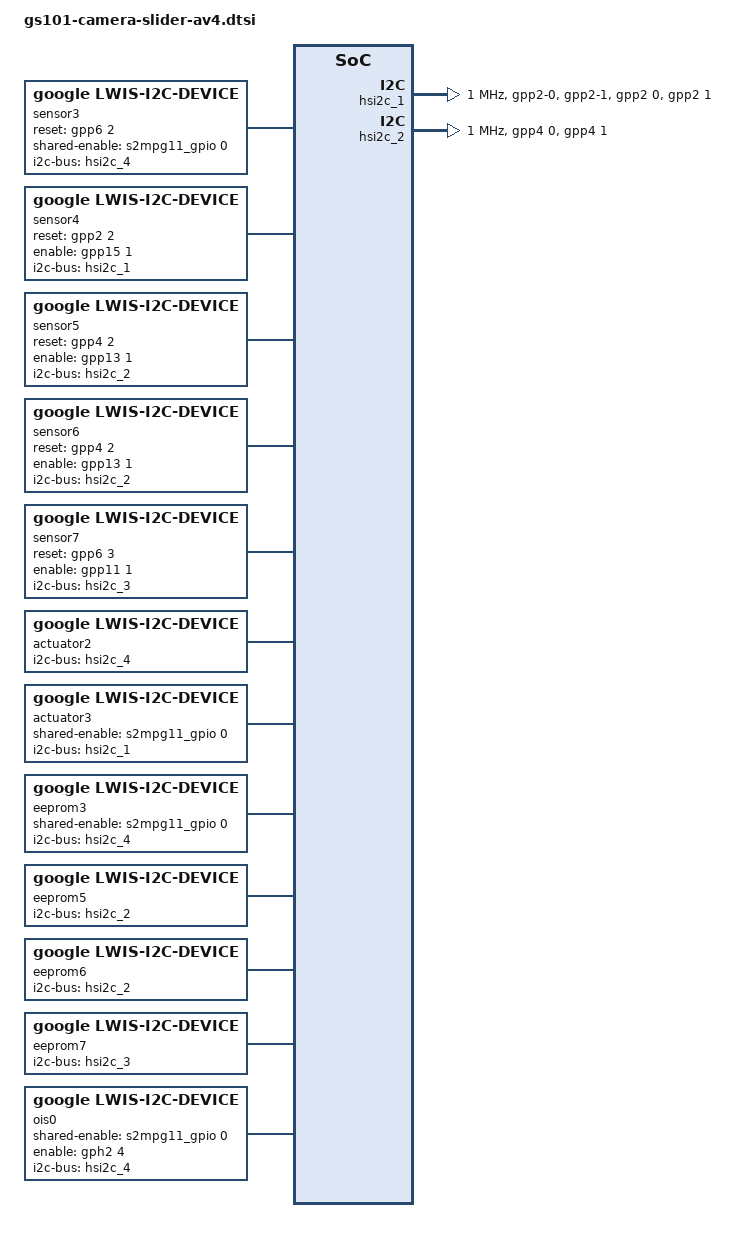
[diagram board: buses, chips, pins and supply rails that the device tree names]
// SPDX-License-Identifier: GPL-2.0-only
/*
 * gs101 camera lwis device tree source for av4
 *
 * Copyright 2020 Google LLC.
 *
 */

#include <dt-bindings/clock/gs101.h>
#include <dt-bindings/gpio/gpio.h>
#include <dt-bindings/pinctrl/samsung.h>

&pinctrl_4 {
	hsi2c1_bus: hsi2c1-bus {
		samsung,pin-pud = <EXYNOS_PIN_PULL_UP>;
	};

	hsi2c1_bus_in: hsi2c1-bus-in {
		samsung,pins = "gpp2-0", "gpp2-1";
		samsung,pin-function = <EXYNOS_PIN_FUNC_INPUT>;
		samsung,pin-pud = <EXYNOS_PIN_PULL_NONE>;
		samsung,pin-drv = <GS101_PIN_DRV_2_5_MA>;
	};
};

&hsi2c_1 {
	#address-cells = <1>;
	#size-cells = <0>;
	gpios = <&gpp2 0 0 &gpp2 1 0>;
	status = "okay";
	clock-frequency = <1000000>;
	samsung,reset-before-trans;

	pinctrl-names = "default","on_i2c","off_i2c";
	pinctrl-0 = <&hsi2c1_bus_in>;
	pinctrl-1 = <&hsi2c1_bus>;
	pinctrl-2 = <&hsi2c1_bus_in>;
};

&hsi2c_2 {
	#address-cells = <1>;
	#size-cells = <0>;
	gpios = <&gpp4 0 0 &gpp4 1 0>;
	status = "okay";
	clock-frequency = <1000000>;
	samsung,reset-before-trans;

	pinctrl-names = "default","on_i2c","off_i2c";
	pinctrl-0 = <&hsi2c2_bus_in>;
	pinctrl-1 = <&hsi2c2_bus>;
	pinctrl-2 = <&hsi2c2_bus_in>;
};

/ {
	fragment@lwiscamera {
		target-path = "/";
		__overlay__ {
			/* REAR CAMERA GN1 */
			sensor3: sensor@3 {
				compatible = "google,lwis-i2c-device";

				/* Device node name */
				node-name = "sensor-gn1";

				/* I2C */
				i2c-bus = <&hsi2c_4>;
				i2c-addr = <0x56>;

				/* Registers */
				reg-addr-bitwidth = <16>;
				reg-value-bitwidth = <16>;

				/* GPIOs */
				/* RCAM_RST_L GPP6[2] */
				reset-gpios = <&gpp6 2 GPIO_ACTIVE_HIGH>;
				/* RCAM_EN2 GRA_GPIO6 */
				shared-enable-gpios =
					<&s2mpg11_gpio 0 GPIO_ACTIVE_HIGH>;

				/* Power supplies */
				regulators =
					<&slg51000_ldo1 &slg51000_ldo3
					 &slg51000_ldo4 &slg51000_ldo7>;
				regulator-voltages =
					<2850000 3200000
					 2900000 1850000>;

				clocks =
					<&clock CIS_CLK0>,
					<&clock GATE_DFTMUX_CMU_CIS_CLK0>;
				clock-names =
					"CIS_CLK0",
					"GATE_DFTMUX_CMU_CIS_CLK0";
				clock-rates =
					<26000000>,
					<0>;

				/* MCLK Control */
				pinctrl-names = "mclk_on", "mclk_off";
				pinctrl-0 = <&sensor_mclk1_fn>;
				pinctrl-1 = <&sensor_mclk1_out>;

				/* Power up sequence */
				power-up-seqs =
					"ldo7",
					"shared-enable",
					"ldo1",
					"ldo4",
					"ldo3",
					"reset",
					"mclk_on";
				power-up-seq-types =
					"regulator",
					"gpio",
					"regulator",
					"regulator",
					"regulator",
					"gpio",
					"pinctrl";
				power-up-seq-delays-us =
					<1000
					 1000
					 0
					 1000
					 0
					 1000
					 9000>;

				/* Power down sequence */
				power-down-seqs =
					"mclk_off",
					"reset",
					"ldo3",
					"ldo4",
					"ldo1",
					"shared-enable",
					"ldo7";
				power-down-seq-types =
					"pinctrl",
					"gpio",
					"regulator",
					"regulator",
					"regulator",
					"gpio",
					"regulator";
				power-down-seq-delays-us =
					<1000
					 0
					 1000
					 0
					 0
					 1000
					 0>;
			};

			/* REAR TELE CAMERA IMX586 */
			sensor4: sensor@4 {
				compatible = "google,lwis-i2c-device";

				/* Device node name */
				node-name = "sensor-imx586";

				/* I2C */
				i2c-bus = <&hsi2c_1>;
				i2c-addr = <0x1A>;

				/* Registers */
				reg-addr-bitwidth = <16>;
				reg-value-bitwidth = <8>;

				/* GPIOs */
				reset-gpios = <&gpp2 2 GPIO_ACTIVE_HIGH>;
				/* RTCAM_EN GPP15[1] */
				enable-gpios = <&gpp15 1 GPIO_ACTIVE_HIGH>;

				/* Power supplies */
				regulators =
					<&slg51000_ldo6 &slg51000_ldo7>;
				regulator-voltages =
					<1150000 1850000>;

				clocks =
					<&clock CIS_CLK4>,
					<&clock GATE_DFTMUX_CMU_CIS_CLK4>;
				clock-names =
					"CIS_CLK4",
					"GATE_DFTMUX_CMU_CIS_CLK4";
				clock-rates =
					<26000000>,
					<0>;

				/* MCLK Control */
				pinctrl-names = "mclk_on", "mclk_off";
				pinctrl-0 = <&sensor_mclk5_fn>;
				pinctrl-1 = <&sensor_mclk5_out>;

				/* Power up sequence */
				power-up-seqs =
					"ldo6",
					"enable",
					"ldo7",
					"mclk_on",
					"reset";
				power-up-seq-types =
					"regulator",
					"gpio",
					"regulator",
					"pinctrl",
					"gpio";
				power-up-seq-delays-us =
					<0
					 0
					 1000
					 1000
					 10000>;

				/* Power down sequence */
				power-down-seqs =
					"reset",
					"mclk_off",
					"ldo7",
					"enable",
					"ldo6";
				power-down-seq-types =
					"gpio",
					"pinctrl",
					"regulator",
					"gpio",
					"regulator";
				power-down-seq-delays-us =
					<0
					 1000
					 0
					 0
					 0>;
			};

			/* FRONT CAMERA IMX355 */
			sensor5: sensor@5 {
				compatible = "google,lwis-i2c-device";

				/* Device node name */
				node-name = "sensor-imx355";

				/* I2C */
				i2c-bus = <&hsi2c_2>;
				i2c-addr = <0x1A>;

				/* Registers */
				reg-addr-bitwidth = <16>;
				reg-value-bitwidth = <8>;

				/* GPIOs */
				reset-gpios = <&gpp4 2 GPIO_ACTIVE_HIGH>;
				enable-gpios = <&gpp13 1 GPIO_ACTIVE_HIGH>;

				/* Power supplies */
				regulators =
					<&slg51000_ldo3 &slg51000_ldo6
					 &slg51000_ldo7>;
				regulator-voltages =
					<3200000 1150000
					 1850000>;

				clocks =
					<&clock CIS_CLK2>,
					<&clock GATE_DFTMUX_CMU_CIS_CLK2>;
				clock-names =
					"CIS_CLK2",
					"GATE_DFTMUX_CMU_CIS_CLK2";
				clock-rates =
					<24000000>,
					<0>;

				/* MCLK Control */
				pinctrl-names = "mclk_on", "mclk_off";
				pinctrl-0 = <&sensor_mclk3_fn>;
				pinctrl-1 = <&sensor_mclk3_out>;

				/* Power up sequence */
				power-up-seqs =
					"ldo3",
					"ldo6",
					"ldo7",
					"mclk_on",
					"reset";
				power-up-seq-types =
					"regulator",
					"regulator",
					"regulator",
					"pinctrl",
					"gpio";
				power-up-seq-delays-us =
					<0
					 0
					 1000
					 1000
					 11000>;

				/* Power down sequence */
				power-down-seqs =
					"reset",
					"mclk_off",
					"ldo7",
					"ldo6",
					"ldo3";
				power-down-seq-types =
					"gpio",
					"pinctrl",
					"regulator",
					"regulator",
					"regulator";
				power-down-seq-delays-us =
					<0
					 1000
					 0
					 0
					 0>;
			};

			/* FRONT CAMERA IMX663 */
			sensor6: sensor@6 {
				compatible = "google,lwis-i2c-device";

				/* Device node name */
				node-name = "sensor-imx663";

				/* I2C */
				i2c-bus = <&hsi2c_2>;
				i2c-addr = <0x1A>;

				/* Registers */
				reg-addr-bitwidth = <16>;
				reg-value-bitwidth = <8>;

				/* GPIOs */
				/* FCAM_RST_L GPP4[2] */
				reset-gpios = <&gpp4 2 GPIO_ACTIVE_HIGH>;
				/* FCAM_EN GPP13[1] */
				enable-gpios = <&gpp13 1 GPIO_ACTIVE_HIGH>;

				/* Power supplies */
				regulators =
					<&slg51000_ldo7>;
				regulator-voltages =
					<1850000>;

				clocks =
					<&clock CIS_CLK2>,
					<&clock GATE_DFTMUX_CMU_CIS_CLK2>;
				clock-names =
					"CIS_CLK2",
					"GATE_DFTMUX_CMU_CIS_CLK2";
				clock-rates =
					<24000000>,
					<0>;

				/* MCLK Control */
				pinctrl-names = "mclk_on", "mclk_off";
				pinctrl-0 = <&sensor_mclk3_fn>;
				pinctrl-1 = <&sensor_mclk3_out>;

				/* Power up sequence */
				power-up-seqs =
					"ldo7",
					"enable",
					"mclk_on",
					"reset";
				power-up-seq-types =
					"regulator",
					"gpio",
					"pinctrl",
					"gpio";
				power-up-seq-delays-us =
					<0
					 1000
					 1000
					 11000>;

				/* Power down sequence */
				power-down-seqs =
					"reset",
					"mclk_off",
					"enable",
					"ldo7";
				power-down-seq-types =
					"gpio",
					"pinctrl",
					"gpio",
					"regulator";
				power-down-seq-delays-us =
					<0
					 1000
					 0
					 0>;
			};

			/* REAR ULTRA WIDE CAMERA IMX386 */
			sensor7: sensor@7 {
				compatible = "google,lwis-i2c-device";

				/* Device node name */
				node-name = "sensor-imx386";

				/* I2C */
				i2c-bus = <&hsi2c_3>;
				i2c-addr = <0x1A>;

				/* Registers */
				reg-addr-bitwidth = <16>;
				reg-value-bitwidth = <8>;

				/* GPIOs */
				reset-gpios = <&gpp6 3 GPIO_ACTIVE_HIGH>;
				enable-gpios = <&gpp11 1 GPIO_ACTIVE_HIGH>;

				/* Power supplies */
				regulators =
					<&slg51000_ldo2 &slg51000_ldo5
					 &slg51000_ldo7>;
				regulator-voltages =
					<2850000 1150000
					 1850000>;

				clocks =
					<&clock CIS_CLK1>,
					<&clock GATE_DFTMUX_CMU_CIS_CLK1>;
				clock-names =
					"CIS_CLK1",
					"GATE_DFTMUX_CMU_CIS_CLK1";
				clock-rates =
					<26000000>,
					<0>;

				/* MCLK Control */
				pinctrl-names = "mclk_on", "mclk_off";
				pinctrl-0 = <&sensor_mclk2_fn>;
				pinctrl-1 = <&sensor_mclk2_out>;

				/* Power up sequence */
				power-up-seqs =
					"ldo2",
					"ldo5",
					"ldo7",
					"mclk_on",
					"reset";
				power-up-seq-types =
					"regulator",
					"regulator",
					"regulator",
					"pinctrl",
					"gpio";
				power-up-seq-delays-us =
					<0
					 0
					 1000
					 1000
					 10000>;

				/* Power down sequence */
				power-down-seqs =
					"reset",
					"mclk_off",
					"ldo7",
					"ldo5",
					"ldo2";
				power-down-seq-types =
					"gpio",
					"pinctrl",
					"regulator",
					"regulator",
					"regulator";
				power-down-seq-delays-us =
					<0
					 1000
					 0
					 0
					 0>;
			};

			/* Actuator ak7377 for gn1*/
			actuator2: actuator@2 {
				compatible = "google,lwis-i2c-device";

				/* Device node name */
				node-name = "act-ak7377";

				/* I2C */
				i2c-bus = <&hsi2c_4>;
				i2c-addr = <0xC>;

				/* Registers */
				reg-addr-bitwidth = <8>;
				reg-value-bitwidth = <8>;

				/* Power supplies */
				regulators = <&slg51000_ldo4 &slg51000_ldo7>;
				regulator-voltages = <2900000 1850000>;
			};

			/* Actuator sem1215sa for imx586*/
			actuator3: actuator@3 {
				compatible = "google,lwis-i2c-device";

				/* Device node name */
				node-name = "act-sem1215sa";

				/* I2C */
				i2c-bus = <&hsi2c_1>;
				i2c-addr = <0x34>;

				/* Registers */
				reg-addr-bitwidth = <16>;
				reg-value-bitwidth = <8>;
				/* GPIOs */
				/* RCAM_EN2 GRA_GPIO6 */
				shared-enable-gpios =
					<&s2mpg11_gpio 0 GPIO_ACTIVE_HIGH>;

				/* Power supplies */
				regulators = <&slg51000_ldo3 &slg51000_ldo7>;
				regulator-voltages = <3200000 1850000>;
			};

			/* Eeprom lc898128 for gn1*/
			eeprom3: eeprom@3 {
				compatible = "google,lwis-i2c-device";

				/* Device node name */
				node-name = "eeprom-lc898128";

				/* I2C */
				i2c-bus = <&hsi2c_4>;
				i2c-addr = <0x24>;

				/* Registers */
				reg-addr-bitwidth = <16>;
				reg-value-bitwidth = <32>;

				/* GPIOs */
				/* RCAM_EN2 GRA_GPIO6 */
				shared-enable-gpios =
					<&s2mpg11_gpio 0 GPIO_ACTIVE_HIGH>;

				/* Power supplies */
				regulators = <&slg51000_ldo3 &slg51000_ldo7>;
				regulator-voltages = <3200000 1850000>;
			};

			/* Eeprom m24c64s for imx355 */
			eeprom5: eeprom@5 {
				compatible = "google,lwis-i2c-device";

				/* Device node name */
				node-name = "eeprom-m24c64s";

				/* I2C */
				i2c-bus = <&hsi2c_2>;
				i2c-addr = <0x51>;

				/* Registers */
				reg-addr-bitwidth = <16>;
				reg-value-bitwidth = <8>;

				/* Power supplies */
				regulators = <&slg51000_ldo7>;
				regulator-voltages = <1850000>;
			};

			/* Eeprom m24c64x for imx663 */
			eeprom6: eeprom@6 {
				compatible = "google,lwis-i2c-device";

				/* Device node name */
				node-name = "eeprom-m24c64x-imx663";

				/* I2C */
				i2c-bus = <&hsi2c_2>;
				i2c-addr = <0x51>;

				/* Registers */
				reg-addr-bitwidth = <16>;
				reg-value-bitwidth = <8>;

				/* Power supplies */
				regulators = <&slg51000_ldo7>;
				regulator-voltages = <1850000>;
			};

			/* Eeprom m24c64x for imx386 */
			eeprom7: eeprom@7 {
				compatible = "google,lwis-i2c-device";

				/* Device node name */
				node-name = "eeprom-m24c64x-imx386";

				/* I2C */
				i2c-bus = <&hsi2c_3>;
				i2c-addr = <0x50>;

				/* Registers */
				reg-addr-bitwidth = <16>;
				reg-value-bitwidth = <8>;

				/* Power supplies */
				regulators =
					<&slg51000_ldo7>;
				regulator-voltages =
					<1850000>;
			};

			/* OIS LC898128 for GN1*/
			ois0: ois@0 {
				compatible = "google,lwis-i2c-device";

				/* Device node name */
				node-name = "ois-lc898128";

				/* I2C */
				i2c-bus = <&hsi2c_4>;
				i2c-addr = <0x24>;

				/* Registers */
				reg-addr-bitwidth = <16>;
				reg-value-bitwidth = <32>;

				/* GPIOs */
				/* RCAM_EN2 GRA_GPIO6 */
				shared-enable-gpios =
					<&s2mpg11_gpio 0 GPIO_ACTIVE_HIGH>;
				/* RCAM_OIS_LS_EN */
				enable-gpios = <&gph2 4 GPIO_ACTIVE_HIGH>;

				/* Power supplies */
				regulators = <&slg51000_ldo3 &slg51000_ldo7>;
				regulator-voltages = <3200000 1850000>;
			};
		};
	};
};
